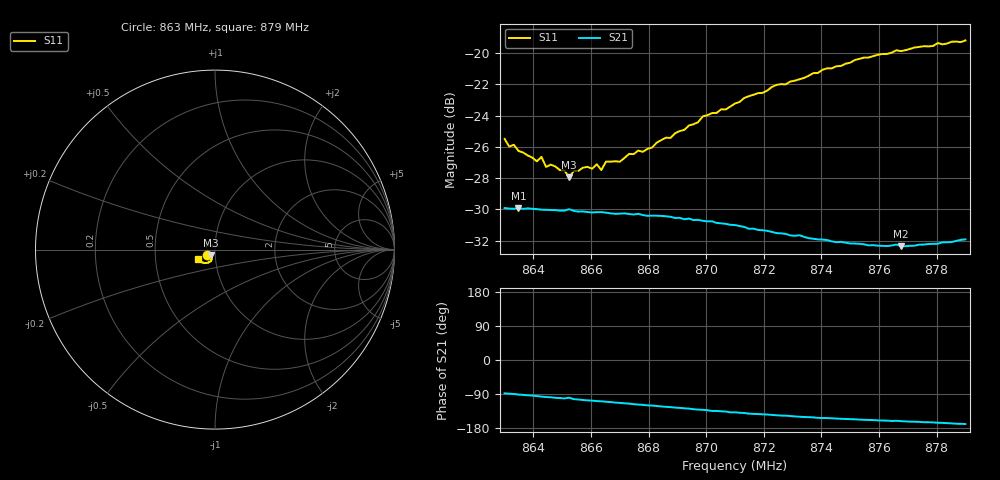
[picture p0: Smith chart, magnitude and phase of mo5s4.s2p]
# HZ S RI R 50
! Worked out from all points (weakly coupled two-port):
!   101 points, 863 MHz to 879 MHz, reference 50 ohm
!   highest |S21| = -29.91 dB at 863.48 MHz (marker M1); lowest = -32.4 dB at 876.76 MHz (marker M2)
!   lowest |S11| = -28.0 dB at 865.24 MHz (marker M3), VSWR 1.08, Z = 47.5 - j3.02 ohm
!   |S11| at or under -10 dB: start of sweep to end of sweep
!   S12 and S22 are empty: the file has one direction only
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8.63e8  -0.0435 -0.0305  0.00114 -0.0319  0 0  0 0
8.6316e8  -0.041 -0.029  0.000599 -0.0318  0 0  0 0
8.6332e8  -0.0412 -0.0299  0.000149 -0.0317  0 0  0 0
8.6348e8  -0.0394 -0.0285  -0.000668 -0.0319  0 0  0 0
8.6412e8  -0.0336 -0.03  -0.0029 -0.0315  0 0  0 0
8.6428e8  -0.0348 -0.0308  -0.00356 -0.0313  0 0  0 0
8.6444e8  -0.0318 -0.0293  -0.00422 -0.0312  0 0  0 0
8.646e8  -0.0313 -0.0309  -0.00458 -0.0311  0 0  0 0
8.6508e8  -0.0278 -0.0317  -0.00622 -0.0307  0 0  0 0
8.6524e8  -0.0244 -0.0317  -0.00513 -0.0312  0 0  0 0
8.6572e8  -0.0246 -0.0353  -0.00832 -0.03  0 0  0 0
8.6604e8  -0.0229 -0.036  -0.00914 -0.0295  0 0  0 0
8.662e8  -0.0232 -0.0375  -0.00979 -0.0294  0 0  0 0
8.6636e8  -0.0226 -0.0357  -0.0101 -0.0293  0 0  0 0
8.6652e8  -0.0216 -0.0394  -0.0106 -0.029  0 0  0 0
8.67e8  -0.0202 -0.0401  -0.012 -0.0281  0 0  0 0
8.6844e8  -0.0188 -0.0492  -0.0162 -0.0254  0 0  0 0
8.71e8  -0.0248 -0.0644  -0.0209 -0.0189  0 0  0 0
8.7372e8  -0.0435 -0.0746  -0.0223 -0.0122  0 0  0 0
8.7644e8  -0.0706 -0.0713  -0.0229 -0.0079  0 0  0 0
8.7676e8  -0.0744 -0.0691  -0.0228 -0.00773  0 0  0 0
8.79e8  -0.0953 -0.0545  -0.0249 -0.00485  0 0  0 0
